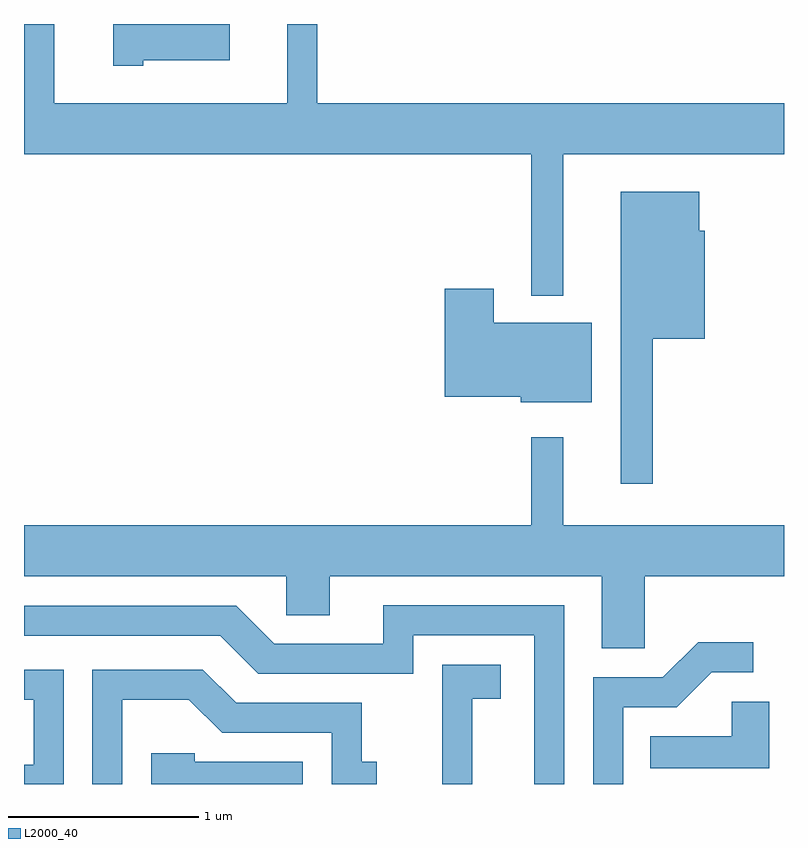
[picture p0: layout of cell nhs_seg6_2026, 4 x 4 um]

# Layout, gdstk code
import gdstk
lib = gdstk.Library(unit=1e-6, precision=1e-09)
def P(c, l, *ps):  # polygons
    for p in ps: c.add(gdstk.Polygon(p, *l))
L2000_40 = (2000, 40)

nhs_seg6_2026 = lib.new_cell('nhs_seg6_2026')
P(nhs_seg6_2026, L2000_40, [(248.449,1665.476),(249.611,1665.476),(249.611,1665.744),(247.154,1665.744),(247.154,1666.162),(246.996,1666.162),(246.996,1665.744),(245.769,1665.744),(245.769,1666.162),(245.611,1666.162),(245.611,1665.476),(248.281,1665.476),(248.281,1664.733),(248.449,1664.733)],
  [(246.239,1665.971),(246.694,1665.971),(246.694,1666.162),(246.081,1666.162),(246.081,1665.941),(246.239,1665.941)],
  [(248.919,1664.506),(249.194,1664.506),(249.194,1665.074),(249.164,1665.074),(249.164,1665.279),(248.751,1665.279),(248.751,1663.743),(248.919,1663.743)],
  [(248.599,1664.589),(248.084,1664.589),(248.084,1664.769),(247.826,1664.769),(247.826,1664.201),(248.226,1664.201),(248.226,1664.171),(248.599,1664.171)],
  [(248.879,1663.256),(249.611,1663.256),(249.611,1663.524),(248.449,1663.524),(248.449,1663.988),(248.281,1663.988),(248.281,1663.524),(245.611,1663.524),(245.611,1663.256),(246.991,1663.256),(246.991,1663.051),(247.219,1663.051),(247.219,1663.256),(248.651,1663.256),(248.651,1662.876),(248.879,1662.876)],
  [(248.454,1663.104),(247.501,1663.104),(247.501,1662.899),(246.927,1662.899),(246.727,1663.099),(245.611,1663.099),(245.611,1662.941),(246.644,1662.941),(246.844,1662.741),(247.659,1662.741),(247.659,1662.946),(248.296,1662.946),(248.296,1662.162),(248.454,1662.162)],
  [(248.764,1662.566),(249.047,1662.566),(249.232,1662.751),(249.448,1662.751),(249.448,1662.909),(249.159,1662.909),(248.974,1662.724),(248.606,1662.724),(248.606,1662.162),(248.764,1662.162)],
  [(247.969,1662.611),(248.119,1662.611),(248.119,1662.789),(247.811,1662.789),(247.811,1662.162),(247.969,1662.162)],
  [(245.819,1662.764),(245.611,1662.764),(245.611,1662.606),(245.661,1662.606),(245.661,1662.264),(245.611,1662.264),(245.611,1662.162),(245.819,1662.162)],
  [(246.129,1662.606),(246.479,1662.606),(246.654,1662.431),(247.231,1662.431),(247.231,1662.162),(247.468,1662.162),(247.468,1662.279),(247.389,1662.279),(247.389,1662.589),(246.727,1662.589),(246.552,1662.764),(245.971,1662.764),(245.971,1662.162),(246.129,1662.162)],
  [(249.534,1662.594),(249.336,1662.594),(249.336,1662.414),(248.908,1662.414),(248.908,1662.246),(249.534,1662.246)],
  [(247.079,1662.279),(246.509,1662.279),(246.509,1662.324),(246.281,1662.324),(246.281,1662.162),(247.079,1662.162)])

lib.write_gds('nhs_seg6_2026.gds')
